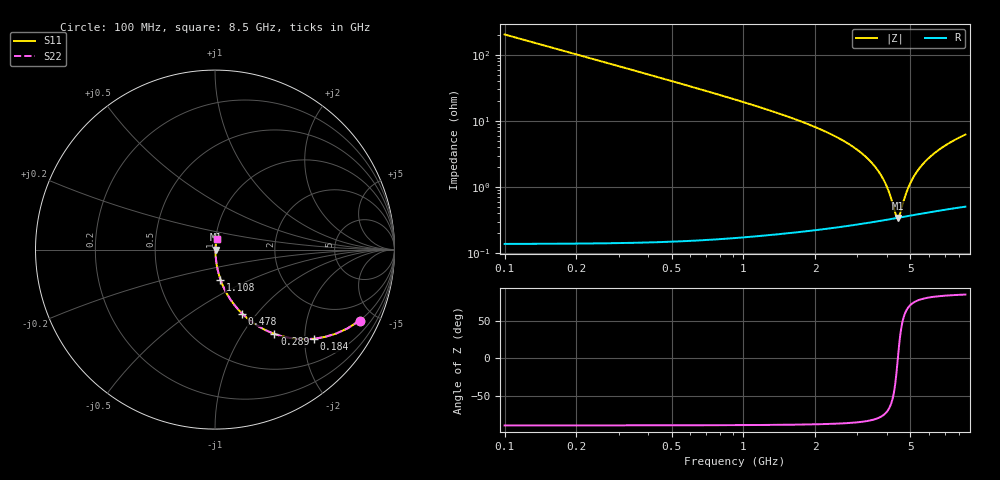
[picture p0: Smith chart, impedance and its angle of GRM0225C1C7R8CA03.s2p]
!Murata Part Number: GRM0225C1C7R8CA03
!These Parameters are Measured in Series Mode Connection
!Data Generated on Mar 30, 2021
!  o--ll--o
!Port1  Port2
!  o------o
!Operation Temp=25[degC], DC Bias Voltage=0[V]
!Freq. Start=100[MHz] Stop=9[GHz] 401[Steps]
# Hz S RI R 50
!Freq.(Hz) S11(Real) S11(Imag) S21(Real) S21(Imag) S12(Real) S12(Imag) S22(Real) S22(Imag)
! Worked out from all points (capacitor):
!   401 points, 100 MHz to 8.5 GHz, reference 50 ohm
!   read as one part in series: C = 7.8 pF near 142 MHz
!   lowest |Z| = 342 mohm at 4.426 GHz (marker M1)
!   series resonance near 4.432 GHz, so ESL is about 170 pH
!   S11 on the Smith chart (normalised r, x): 100 MHz: 1.00, -4.08; 184 MHz: 1.00, -2.21; 289 MHz: 1.00, -1.41; 478 MHz: 1.00, -0.84; 1.108 GHz: 1.00, -0.34; 8.5 GHz: 1.01, +0.12
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1e8  0.806 -0.3951  0.194 0.3951  0.194 0.3951  0.806 -0.3951
1.84e8  0.5505 -0.4968  0.4495 0.4968  0.4495 0.4968  0.5505 -0.4968
2.89e8  0.331 -0.4696  0.669 0.4696  0.669 0.4696  0.331 -0.4696
3.73e8  0.2283 -0.4184  0.7717 0.4184  0.7717 0.4184  0.2283 -0.4184
4.78e8  0.1518 -0.3571  0.8482 0.3571  0.8482 0.3571  0.1518 -0.3571
7.09e8  0.074 -0.2589  0.926 0.2589  0.926 0.2589  0.074 -0.2589
1.108e9  0.0304 -0.1666  0.9696 0.1666  0.9696 0.1666  0.0304 -0.1666
1.507e9  0.0159 -0.1171  0.9841 0.1171  0.9841 0.1171  0.0159 -0.1171
2.914e9  0.00419 -0.0391  0.9958 0.0391  0.9958 0.0391  0.00419 -0.0391
3.397e9  0.00349 -0.0243  0.9965 0.0243  0.9965 0.0243  0.00349 -0.0243
3.775e9  0.0033 -0.0145  0.9967 0.0145  0.9967 0.0145  0.0033 -0.0145
4.048e9  0.00329 -0.00818  0.9967 0.00818  0.9967 0.00818  0.00329 -0.00818
4.3e9  0.00335 -0.00272  0.9966 0.00272  0.9966 0.00272  0.00335 -0.00272
4.426e9  0.00341 -0.000126  0.9966 0.000126  0.9966 0.000126  0.00341 -0.000126
4.51e9  0.00345 0.00156  0.9966 -0.00156  0.9966 -0.00156  0.00345 0.00156
4.783e9  0.00362 0.00684  0.9964 -0.00684  0.9964 -0.00684  0.00362 0.00684
5.014e9  0.00381 0.0111  0.9962 -0.0111  0.9962 -0.0111  0.00381 0.0111
5.329e9  0.00411 0.0166  0.9959 -0.0166  0.9959 -0.0166  0.00411 0.0166
5.707e9  0.00452 0.0228  0.9955 -0.0228  0.9955 -0.0228  0.00452 0.0228
6.316e9  0.00529 0.0321  0.9947 -0.0321  0.9947 -0.0321  0.00529 0.0321
7.114e9  0.00646 0.0434  0.9935 -0.0434  0.9935 -0.0434  0.00646 0.0434
8.5e9  0.00881 0.0613  0.9912 -0.0613  0.9912 -0.0613  0.00881 0.0613
